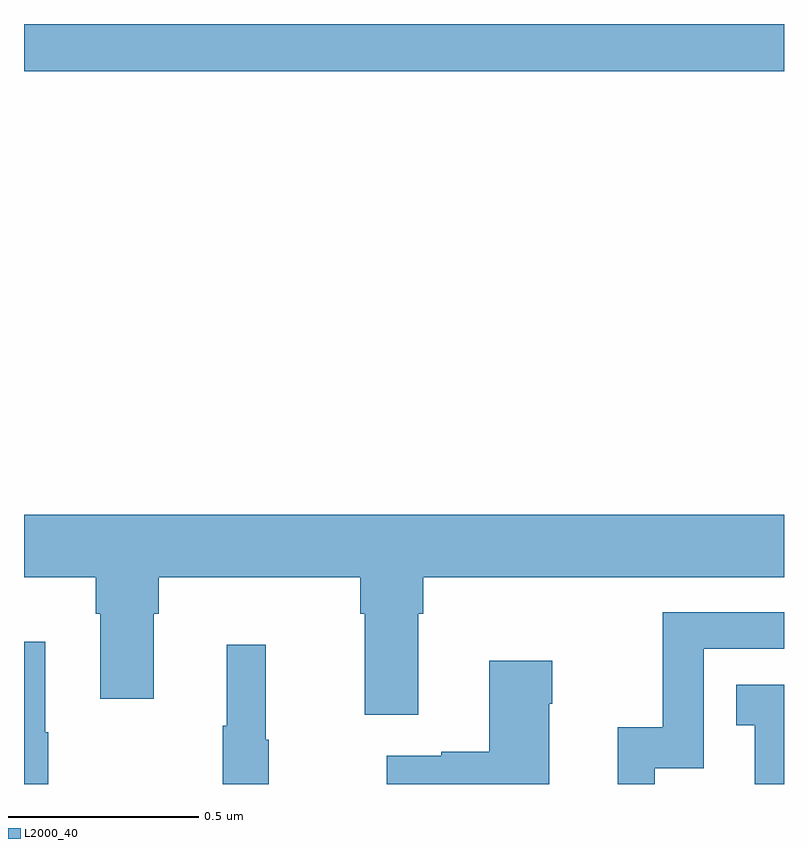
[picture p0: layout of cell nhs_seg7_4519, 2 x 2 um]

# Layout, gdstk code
import gdstk
lib = gdstk.Library(unit=1e-6, precision=1e-09)
def R(c, l, rs):  # rectangles x0, y0, x1, y1
    for r in rs: c.add(gdstk.rectangle(r[:2], r[2:], *l))
def P(c, l, *ps):  # polygons
    for p in ps: c.add(gdstk.Polygon(p, *l))
L2000_40 = (2000, 40)

nhs_seg7_4519 = lib.new_cell('nhs_seg7_4519')
R(nhs_seg7_4519, L2000_40, [(173,1073.876,175,1074)])
P(nhs_seg7_4519, L2000_40, [(174.037,1072.448),(174.05,1072.448),(174.05,1072.544),(175,1072.544),(175,1072.708),(173,1072.708),(173,1072.544),(173.189,1072.544),(173.189,1072.448),(173.201,1072.448),(173.201,1072.224),(173.341,1072.224),(173.341,1072.448),(173.354,1072.448),(173.354,1072.544),(173.885,1072.544),(173.885,1072.448),(173.897,1072.448),(173.897,1072.182),(174.037,1072.182)],
  [(174.66,1072.041),(174.789,1072.041),(174.789,1072.356),(175,1072.356),(175,1072.452),(174.681,1072.452),(174.681,1072.15),(174.563,1072.15),(174.563,1072),(174.66,1072)],
  [(173.064,1072.136),(173.056,1072.136),(173.056,1072.375),(173,1072.375),(173,1072),(173.064,1072)],
  [(173.644,1072.116),(173.636,1072.116),(173.636,1072.366),(173.534,1072.366),(173.534,1072.153),(173.523,1072.153),(173.523,1072),(173.644,1072)],
  [(174.382,1072.211),(174.39,1072.211),(174.39,1072.324),(174.224,1072.324),(174.224,1072.085),(174.098,1072.085),(174.098,1072.075),(173.955,1072.075),(173.955,1072),(174.382,1072)],
  [(175,1072.261),(174.874,1072.261),(174.874,1072.155),(174.923,1072.155),(174.923,1072),(175,1072)])

lib.write_gds('nhs_seg7_4519.gds')
